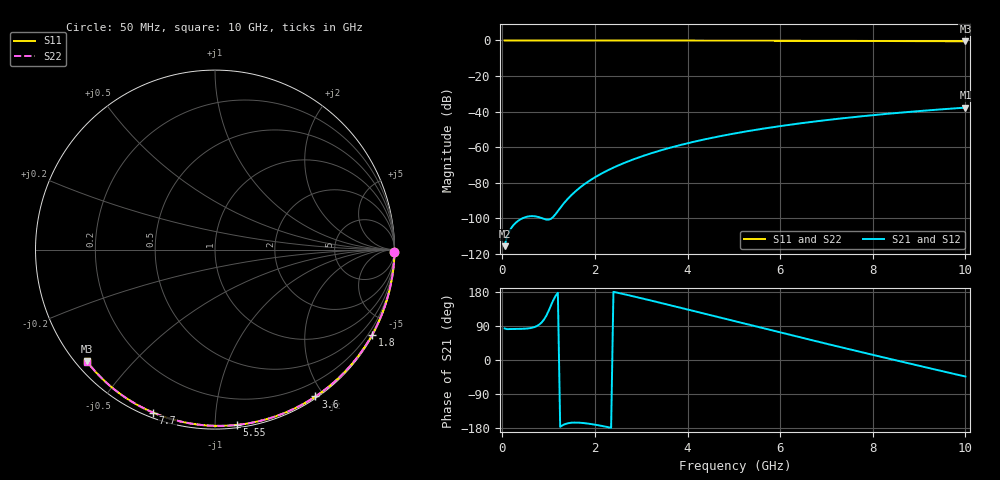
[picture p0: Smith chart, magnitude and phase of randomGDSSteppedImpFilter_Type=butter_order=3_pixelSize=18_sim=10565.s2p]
! freq	dB(S11)	phase(S11)	dB(S12)	phase(S12)
!  dB(S21)	phase(S21)	dB(S22)	phase(S22)
!S-par simulation data
#  GHz  S  DB  R 50
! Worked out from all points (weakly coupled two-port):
!   200 points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, 50 MHz to 10 GHz, reference 50 ohm
!   highest |S21| = -37.80 dB at 10 GHz (marker M1); lowest = -115.8 dB at 50 MHz (marker M2)
!   lowest |S11| = -0.5 dB at 10 GHz (marker M3), VSWR 37.01, Z = 1.54 - j18.8 ohm
!   |S11| at or under -10 dB: nowhere
!   |S22| runs from -0.5 to 0.0 dB; largest |S21 - S12| = 0
!   S11 on the Smith chart (normalised r, x): 50 MHz: open; 1.8 GHz: 0.03, -3.94; 3.6 GHz: 0.02, -1.90; 5.55 GHz: 0.02, -1.13; 7.7 GHz: 0.02, -0.69; 10 GHz: 0.03, -0.38
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0.05  -0.00 -0.8  -115.80 83.3  -115.80 83.3  -0.00 -0.8
0.45  -0.01 -7.2  -99.94 82.4  -99.94 82.4  -0.01 -7.2
0.9  -0.02 -14.4  -100.47 106.7  -100.47 106.7  -0.02 -14.4
1.75  -0.04 -27.7  -81.36 -166.3  -81.36 -166.3  -0.04 -27.7
1.8  -0.04 -28.5  -80.41 -167.0  -80.41 -167.0  -0.04 -28.5
1.85  -0.04 -29.3  -79.52 -167.8  -79.52 -167.8  -0.04 -29.3
2.05  -0.04 -32.4  -76.28 -171.7  -76.28 -171.7  -0.04 -32.4
2.2  -0.04 -34.7  -74.14 -175.1  -74.14 -175.1  -0.04 -34.7
2.55  -0.05 -40.0  -69.85 175.8  -69.85 175.8  -0.05 -40.0
2.95  -0.06 -46.0  -65.82 164.6  -65.82 164.6  -0.06 -46.0
3.4  -0.07 -52.7  -62.04 151.3  -62.04 151.3  -0.07 -52.7
3.6  -0.07 -55.6  -60.56 145.3  -60.56 145.3  -0.07 -55.6
3.9  -0.08 -60.0  -58.51 136.3  -58.51 136.3  -0.08 -60.0
4.3  -0.09 -65.7  -56.08 124.2  -56.08 124.2  -0.09 -65.7
5.05  -0.12 -76.2  -52.19 101.4  -52.19 101.4  -0.12 -76.2
5.55  -0.14 -83.0  -49.99 86.3  -49.99 86.3  -0.14 -83.0
6.1  -0.16 -90.3  -47.84 69.7  -47.84 69.7  -0.16 -90.3
6.7  -0.19 -98.1  -45.78 51.8  -45.78 51.8  -0.19 -98.1
7.7  -0.25 -110.8  -42.84 22.3  -42.84 22.3  -0.25 -110.8
8.35  -0.30 -118.8  -41.21 3.5  -41.21 3.5  -0.30 -118.8
9.2  -0.38 -129.2  -39.34 -20.9  -39.34 -20.9  -0.38 -129.2
10  -0.47 -138.8  -37.80 -43.6  -37.80 -43.6  -0.47 -138.8
